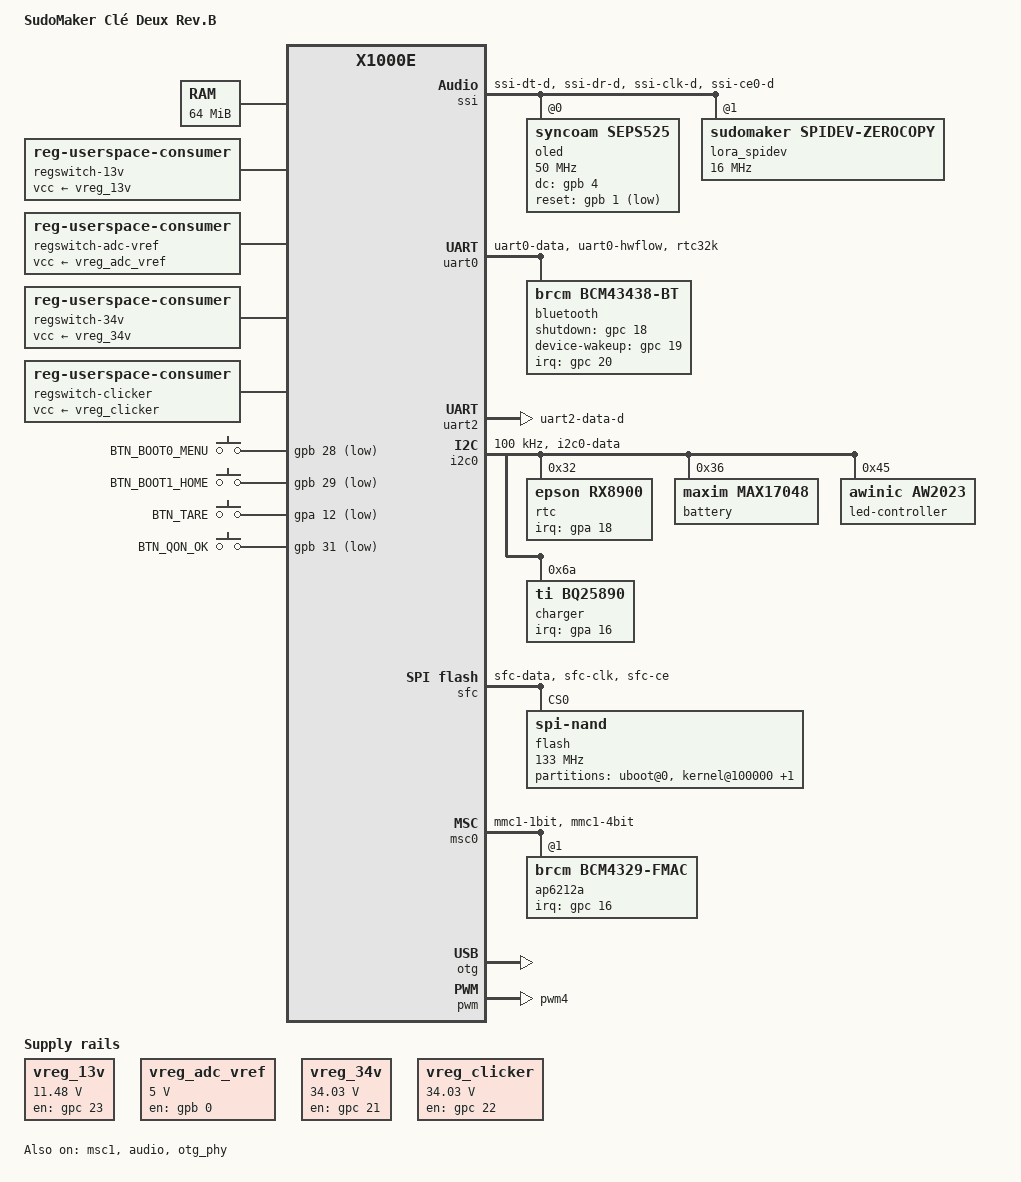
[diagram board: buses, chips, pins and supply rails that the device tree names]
// SPDX-License-Identifier: GPL-2.0

/dts-v1/;

#include "x1000.dtsi"
#include <dt-bindings/gpio/gpio.h>
#include <dt-bindings/leds/common.h>
#include <dt-bindings/input/input.h>
#include <dt-bindings/clock/ingenic,sysost.h>
#include <dt-bindings/interrupt-controller/irq.h>

/ {
	compatible = "sudomaker,cle-v2.1", "ingenic,x1000e";
	model = "SudoMaker Clé Deux Rev.B";

	aliases {
		serial2 = &uart2;
	};

	chosen {
		stdout-path = "serial2:115200n8";
	};

	memory {
		device_type = "memory";
		reg = <0x0 0x04000000>;
	};

	vreg_13v: regulator-13v {
		compatible = "regulator-fixed";

		regulator-name = "vreg_13v";
		regulator-min-microvolt = <11480000>;
		regulator-max-microvolt = <11480000>;

		gpio = <&gpc 23 GPIO_ACTIVE_LOW>;
		enable-active-high;
	};

	regswitch-13v {
		compatible = "reg-userspace-consumer";
		regulator-name = "vreg_13v";
		regulator-supplies = "vcc";
		vcc-supply = <&vreg_13v>;
		regulator-boot-on;
		comment = "13V Boost Switch (OLED and ADC)";
	};

	vreg_adc_vref: regulator-adc-vref {
		compatible = "regulator-fixed";

		regulator-name = "vreg_adc_vref";
		regulator-min-microvolt = <5000000>;
		regulator-max-microvolt = <5000000>;

		gpio = <&gpb 0 GPIO_ACTIVE_LOW>;
		enable-active-high;
	};

	regswitch-adc-vref {
		compatible = "reg-userspace-consumer";
		regulator-name = "vreg_adc_vref";
		regulator-supplies = "vcc";
		vcc-supply = <&vreg_adc_vref>;
		regulator-boot-on;
		comment = "ADC VREF";
	};

	vreg_34v: regulator-34v {
		compatible = "regulator-fixed";

		regulator-name = "vreg_34v";
		regulator-min-microvolt = <34030000>;
		regulator-max-microvolt = <34030000>;

		gpio = <&gpc 21 GPIO_ACTIVE_LOW>;
		enable-active-high;
	};

	regswitch-34v {
		compatible = "reg-userspace-consumer";
		regulator-name = "vreg_34v";
		regulator-supplies = "vcc";
		vcc-supply = <&vreg_34v>;
		comment = "34V Boost Switch";
	};

	vreg_clicker: regulator-clicker {
		compatible = "regulator-fixed";

		regulator-name = "vreg_clicker";
		regulator-min-microvolt = <34030000>;
		regulator-max-microvolt = <34030000>;

		gpio = <&gpc 22 GPIO_ACTIVE_LOW>;
		enable-active-high;
	};

	regswitch-clicker {
		compatible = "reg-userspace-consumer";
		regulator-name = "vreg_clicker";
		regulator-supplies = "vcc";
		vcc-supply = <&vreg_clicker>;
		comment = "Clicker Switch";
	};

	gpio_keys {
		compatible = "gpio-keys";

		btn_0 {
			wakeup-source;
			label = "BTN_BOOT0_MENU";
			linux,code = <KEY_UP>;
			gpios = <&gpb 28 GPIO_ACTIVE_LOW>;
		};

		btn_1 {
			wakeup-source;
			label = "BTN_BOOT1_HOME";
			linux,code = <KEY_ESC>;
			gpios = <&gpb 29 GPIO_ACTIVE_LOW>;
		};

		btn_2 {
			wakeup-source;
			label = "BTN_TARE";
			linux,code = <KEY_DOWN>;
			gpios = <&gpa 12 GPIO_ACTIVE_LOW>;
		};

		btn_3 {
			wakeup-source;
			label = "BTN_QON_OK";
			linux,code = <KEY_ENTER>;
			gpios = <&gpb 31 GPIO_ACTIVE_LOW>;
		};


	};

};

&exclk {
	clock-frequency = <24000000>;
};

&cgu {
	assigned-clocks = <&cgu X1000_CLK_SSIMUX>, <&cgu X1000_CLK_RTC>;
	assigned-clock-parents = <&cgu X1000_CLK_SSIPLL_DIV2>, <&cgu X1000_CLK_EXCLK_DIV512>;
};

&ost {
	/* 1500 kHz for the system timer and clocksource */
	assigned-clocks = <&ost OST_CLK_EVENT_TIMER>, <&ost OST_CLK_GLOBAL_TIMER>;
	assigned-clock-rates = <1500000>, <1500000>;
};

&ssi {
	status = "okay";

	pinctrl-names = "default";
	pinctrl-0 = <&pins_spi0>;

	num-cs = <2>;
	cs-gpios = <0>, <&gpa 3 GPIO_ACTIVE_LOW>;

	/delete-property/ dmas;
	/delete-property/ dma-names;

	oled@0 {
		compatible = "syncoam,seps525";
		reg = <0>;
		spi-max-frequency = <50000000>;
		rotate = <0>;
		txbuflen = <16256>;
		buswidth = <8>;
		fps = <50>;
		dc-gpios = <&gpb 4 0>;
		reset-gpios = <&gpb 1 GPIO_ACTIVE_LOW>;
		debug = <0x4000000>;
	};

	lora_spidev@1 {
		reg = <1>;
		compatible = "sudomaker,spidev-zerocopy";

		spi-max-frequency = <16000000>;
	};

};

&uart0 {
		status = "okay";

		pinctrl-names = "default";
		pinctrl-0 = <&pins_uart0>, <&pins_rtc32k>;

		uart-has-rtscts;

		bluetooth {
				compatible = "brcm,bcm43438-bt";
				max-speed = <1500000>;
				brcm,bt-pcm-int-params = [01 02 00 01 01];
				shutdown-gpios = <&gpc 18 GPIO_ACTIVE_HIGH>;
				device-wakeup-gpios = <&gpc 19 GPIO_ACTIVE_HIGH>;
				interrupt-parent = <&gpc>;
				interrupts = <20 IRQ_TYPE_EDGE_FALLING>;
				// brcm,requires-autobaud-mode;
		};
};

&uart2 {
	status = "okay";

	pinctrl-names = "default";
	pinctrl-0 = <&pins_uart2>;
};

&i2c0 {
	status = "okay";

	clock-frequency = <100000>;

	pinctrl-names = "default";
	pinctrl-0 = <&pins_i2c0>;

	rtc@32 {
		compatible = "epson,rx8900";
		reg = <0x32>;

		interrupt-parent = <&gpa>;
		interrupts = <18 IRQ_TYPE_EDGE_FALLING>;
		wakeup-source;

		epson,vdet-disable;
		trickle-diode-disable;
	};

	battery@36 {
		compatible = "maxim,max17048";
		reg = <0x36>;

		maxim,alert-low-soc-level = <10>;
	};

	led-controller@45 {
		compatible = "awinic,aw2023";
		reg = <0x45>;
		#address-cells = <1>;
		#size-cells = <0>;

		led@0 {
			reg = <0>;
			led-max-microamp = <2000>;
			function = LED_FUNCTION_INDICATOR;
			color = <LED_COLOR_ID_RED>;
		};

		led@1 {
			reg = <1>;
			led-max-microamp = <2000>;
			function = LED_FUNCTION_INDICATOR;
			color = <LED_COLOR_ID_GREEN>;
		};

		led@2 {
			reg = <2>;
			led-max-microamp = <2000>;
			function = LED_FUNCTION_INDICATOR;
			color = <LED_COLOR_ID_BLUE>;
		};
	};

	charger@6a {
		compatible = "ti,bq25890";
		reg = <0x6a>;

		interrupt-parent = <&gpa>;
		interrupts = <16 IRQ_TYPE_EDGE_FALLING>;
		wakeup-source;

		ti,battery-regulation-voltage = <4200000>;
		ti,charge-current = <500000>;
		ti,termination-current = <25000>;
		ti,precharge-current = <50000>;
		ti,minimum-sys-voltage = <3600000>;
		ti,boost-voltage = <5100000>;
		ti,boost-max-current = <2400000>;
		ti,thermal-regulation-threshold = <120>;
	};
};


&sfc {
	status = "okay";

	#address-cells = <1>;
	#size-cells = <0>;


	pinctrl-names = "default";
	pinctrl-0 = <&pins_sfc>;

	flash: spinand@0 {
		compatible = "spi-nand";
		spi-max-frequency = <133000000>;
		reg = <0>;

		spi-rx-bus-width = <4>;
		spi-tx-bus-width = <4>;

		partitions {
			compatible = "fixed-partitions";
			#address-cells = <1>;
			#size-cells = <1>;

			uboot@0 {
				reg = <0x0 0x100000>;
			};

			kernel@100000 {
				reg = <0x100000 0x600000>;
			};

			ubi0@700000 {
				reg = <0x700000 0xFB00000>;
			};
		};
	};

};

&msc1 {
	status = "okay";

	bus-width = <4>;
	max-frequency = <25000000>;

	pinctrl-names = "default";
	pinctrl-0 = <&pins_msc0>;

	non-removable;
};

&msc0 {
		status = "okay";

		#address-cells = <1>;
		#size-cells = <0>;
		bus-width = <4>;
		max-frequency = <25000000>;

		pinctrl-names = "default";
		pinctrl-0 = <&pins_msc1>;

		non-removable;
		cap-power-off-card;
		keep-power-in-suspend;
		wakeup-source;

		ap6212a: wifi@1 {
				compatible = "brcm,bcm4329-fmac";
				reg = <1>;

				interrupt-parent = <&gpc>;
				interrupts = <16 IRQ_TYPE_EDGE_FALLING>;
				interrupt-names = "host-wake";
				wakeup-source;

				// reset-gpios = <&gpc 17 GPIO_ACTIVE_LOW>;

				brcm,drive-strength = <10>;
		};
};

&audio {
	status = "okay";
};

&otg_phy {
	status = "okay";
};

&otg {
	status = "okay";
};

&pwm {
	status = "okay";

	pinctrl-names = "default";
	pinctrl-0 = <&pins_pwm4>;
};

&pinctrl {

	pins_rtc32k: rtc32k {
		function = "rtc32k";
		groups = "rtc32k";
	};

	pins_pwm4: pwm4 {
		function = "pwm4";
		groups = "pwm4";
	};

	pins_sfc: sfc {
		function = "sfc";
		groups = "sfc-data", "sfc-clk", "sfc-ce";
	};

	pins_spi0: spi0 {
			function = "ssi";
			groups = "ssi-dt-d", "ssi-dr-d", "ssi-clk-d", "ssi-ce0-d";
	};

	pins_uart0: uart0 {
		function = "uart0";
		groups = "uart0-data", "uart0-hwflow";
		bias-pull-up;
	};

	pins_uart2: uart2 {
		function = "uart2";
		groups = "uart2-data-d";
		bias-pull-up;
	};

	pins_i2c0: i2c0 {
		function = "i2c0";
		groups = "i2c0-data";
		bias-pull-up;
	};

	pins_msc0: msc0 {
		function = "mmc0";
		groups = "mmc0-1bit", "mmc0-4bit";
		bias-pull-up;
	};

	pins_msc1: msc1 {
		function = "mmc1";
		groups = "mmc1-1bit", "mmc1-4bit";
		bias-pull-up;
	};

};
